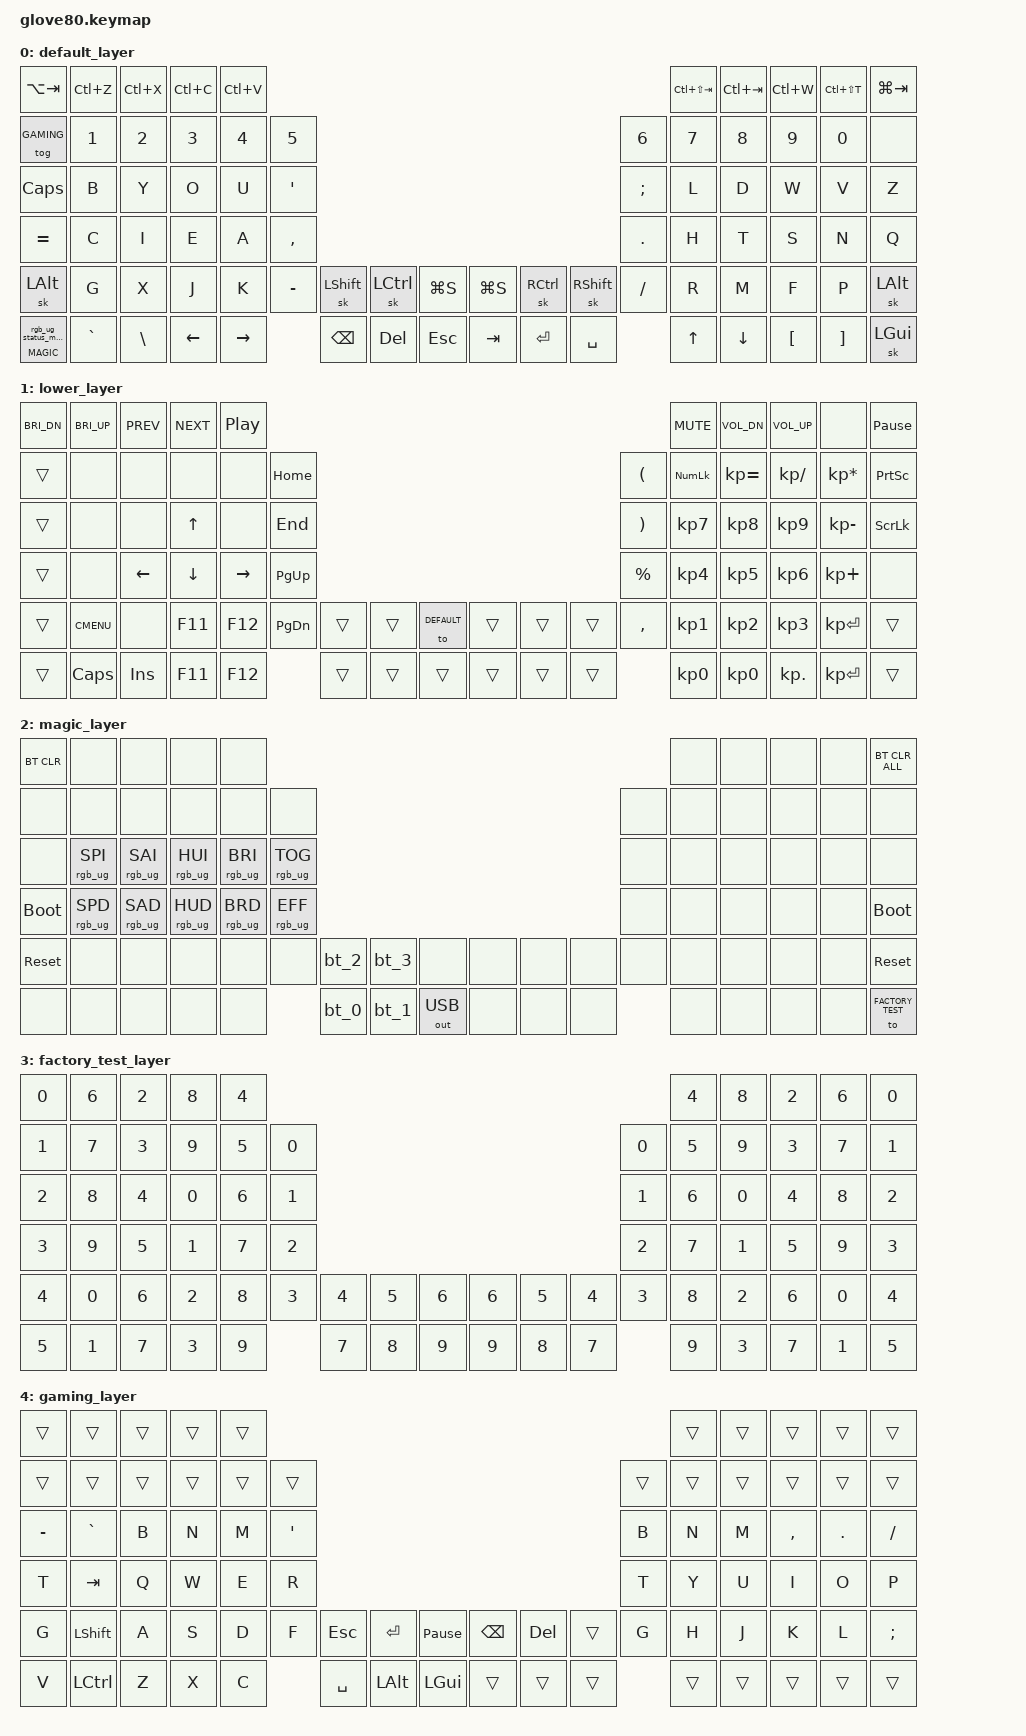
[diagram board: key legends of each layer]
/*
 * Copyright (c) 2020 The ZMK Contributors
 *
 * SPDX-License-Identifier: MIT
 */

#include <behaviors.dtsi>
#include <dt-bindings/zmk/keys.h>
#include <dt-bindings/zmk/bt.h>
#include <dt-bindings/zmk/ext_power.h>
#include <dt-bindings/zmk/outputs.h>
#include <dt-bindings/zmk/rgb.h>

#define HYPER LC(LS(LG(LALT)))

// layers
#define DEFAULT 0
#define LOWER 1
#define MAGIC 2
#define FACTORY_TEST 3
#define GAMING 4


/ {
    behaviors {
        // For the "layer" key, it'd nice to be able to use it as either a shift or a toggle.
        // Configure it as a tap dance, so the first tap (or hold) is a &mo and the second tap is a &to
        layer_td: tap_dance_0 {
            compatible = "zmk,behavior-tap-dance";
            label = "LAYER_TAP_DANCE";
            #binding-cells = <0>;
            tapping-term-ms = <200>;
            bindings = <&mo LOWER>, <&to LOWER>;
        };

        magic: magic_hold_tap {
            compatible = "zmk,behavior-hold-tap";
            label = "MAGIC_HOLD_TAP";
            #binding-cells = <2>;
            flavor = "tap-preferred";
            tapping-term-ms = <200>;
            bindings = <&mo>, <&rgb_ug_status_macro>;
        };

    };

    macros {
        rgb_ug_status_macro: rgb_ug_status_macro_0 {
            label = "RGB_UG_STATUS";
            compatible = "zmk,behavior-macro";
            #binding-cells = <0>;
            bindings
                = <&rgb_ug RGB_STATUS>;
        };

        bt_0: bt_profile_macro_0 {
            label = "BT_0";
            compatible = "zmk,behavior-macro";
            #binding-cells = <0>;
            bindings
                = <&out OUT_BLE>,
                  <&bt BT_SEL 0>;
        };

        bt_1: bt_profile_macro_1 {
            label = "BT_1";
            compatible = "zmk,behavior-macro";
            #binding-cells = <0>;
            bindings
                = <&out OUT_BLE>,
                  <&bt BT_SEL 1>;
        };

        bt_2: bt_profile_macro_2 {
            label = "BT_2";
            compatible = "zmk,behavior-macro";
            #binding-cells = <0>;
            bindings
                = <&out OUT_BLE>,
                  <&bt BT_SEL 2>;
        };

        bt_3: bt_profile_macro_3 {
            label = "BT_3";
            compatible = "zmk,behavior-macro";
            #binding-cells = <0>;
            bindings
                = <&out OUT_BLE>,
                  <&bt BT_SEL 3>;
        };
    };

    keymap {
        compatible = "zmk,keymap";

        default_layer {
            bindings = <
            &kp LA(TAB)    &kp LC(Z)     &kp LC(X)     &kp LC(C)     &kp LC(V)                                                                                                                               &kp LC(LS(TAB))    &kp LC(TAB)  &kp LC(W)    &kp LC(LS(T))  &kp LG(TAB)
            &tog GAMING    &kp N1        &kp N2        &kp N3        &kp N4       &kp N5                                                                                                           &kp N6    &kp N7             &kp N8       &kp N9       &kp N0         &none
            &kp CAPSLOCK   &kp B         &kp Y         &kp O         &kp U        &kp SQT                                                                                                          &kp SEMI  &kp L              &kp D        &kp W        &kp V          &kp Z
            &kp EQUAL      &kp C         &kp I         &kp E         &kp A        &kp COMMA                                                                                                        &kp DOT   &kp H              &kp T        &kp S        &kp N          &kp Q
            &sk LALT       &kp G         &kp X         &kp J         &kp K        &kp MINUS   &sk LSHFT           &sk LCTRL       &kp LG(S)     &kp LG(S)         &sk RCTRL      &sk RSHFT         &kp FSLH  &kp R              &kp M        &kp F        &kp P          &sk LALT
            &magic MAGIC 0 &kp GRAVE     &kp BSLH      &kp LEFT      &kp RIGHT                &kp BACKSPACE       &kp DEL         &kp ESC       &kp TAB           &kp ENTER      &kp SPACE                   &kp UP             &kp DOWN     &kp LBKT     &kp RBKT       &sk LGUI
            >;
        };

        lower_layer {
            bindings = <
            &kp C_BRI_DN      &kp C_BRI_UP        &kp C_PREV      &kp C_NEXT      &kp C_PP                                                                                                           &kp C_MUTE   &kp C_VOL_DN &kp C_VOL_UP  &none           &kp PAUSE_BREAK
            &trans            &none               &none           &none           &none           &kp HOME                                                                              &kp LPAR     &kp KP_NUM   &kp KP_EQUAL &kp KP_DIVIDE &kp KP_MULTIPLY &kp PSCRN
            &trans            &none               &none           &kp UP          &none           &kp END                                                                               &kp RPAR     &kp KP_N7    &kp KP_N8    &kp KP_N9     &kp KP_MINUS    &kp SLCK
            &trans            &none               &kp LEFT        &kp DOWN        &kp RIGHT       &kp PG_UP                                                                             &kp PRCNT    &kp KP_N4    &kp KP_N5    &kp KP_N6     &kp KP_PLUS     &none
            &trans            &kp K_CMENU         &none           &kp F11         &kp F12         &kp PG_DN       &trans      &trans      &to DEFAULT &trans      &trans      &trans    &kp COMMA    &kp KP_N1    &kp KP_N2    &kp KP_N3     &kp KP_ENTER    &trans
            &trans            &kp CAPS            &kp INS         &kp F11         &kp F12                         &trans      &trans      &trans      &trans      &trans      &trans                 &kp KP_N0    &kp KP_N0    &kp KP_DOT    &kp KP_ENTER    &trans
            >;
        };

        magic_layer {
            bindings = <
            &bt BT_CLR        &none               &none           &none           &none                                                                                                           &none      &none      &none      &none      &bt BT_CLR_ALL
            &none             &none               &none           &none           &none           &none                                                                                &none      &none      &none      &none      &none      &none
            &none             &rgb_ug RGB_SPI     &rgb_ug RGB_SAI &rgb_ug RGB_HUI &rgb_ug RGB_BRI &rgb_ug RGB_TOG                                                                      &none      &none      &none      &none      &none      &none
            &bootloader       &rgb_ug RGB_SPD     &rgb_ug RGB_SAD &rgb_ug RGB_HUD &rgb_ug RGB_BRD &rgb_ug RGB_EFF                                                                      &none      &none      &none      &none      &none      &bootloader
            &sys_reset        &none               &none           &none           &none           &none           &bt_2     &bt_3     &none            &none     &none     &none       &none      &none      &none      &none      &none      &sys_reset
            &none             &none               &none           &none           &none                           &bt_0     &bt_1     &out OUT_USB     &none     &none     &none                  &none      &none      &none      &none      &to FACTORY_TEST
            >;
        };

        factory_test_layer {
            bindings = <
            &kp N0   &kp N6   &kp N2   &kp N8   &kp N4                                                                              &kp N4   &kp N8   &kp N2   &kp N6   &kp N0
            &kp N1   &kp N7   &kp N3   &kp N9   &kp N5   &kp N0                                                            &kp N0   &kp N5   &kp N9   &kp N3   &kp N7   &kp N1
            &kp N2   &kp N8   &kp N4   &kp N0   &kp N6   &kp N1                                                            &kp N1   &kp N6   &kp N0   &kp N4   &kp N8   &kp N2
            &kp N3   &kp N9   &kp N5   &kp N1   &kp N7   &kp N2                                                            &kp N2   &kp N7   &kp N1   &kp N5   &kp N9   &kp N3
            &kp N4   &kp N0   &kp N6   &kp N2   &kp N8   &kp N3   &kp N4   &kp N5   &kp N6      &kp N6   &kp N5   &kp N4   &kp N3   &kp N8   &kp N2   &kp N6   &kp N0   &kp N4
            &kp N5   &kp N1   &kp N7   &kp N3   &kp N9            &kp N7   &kp N8   &kp N9      &kp N9   &kp N8   &kp N7            &kp N9   &kp N3   &kp N7   &kp N1   &kp N5
            >;
        };

        gaming_layer {
            bindings = <
            &trans     &trans      &trans  &trans  &trans                                                                                                       &trans  &trans     &trans     &trans    &trans
            &trans     &trans      &trans  &trans  &trans   &trans                                                                                      &trans  &trans  &trans     &trans     &trans    &trans
            &kp MINUS  &kp GRAVE   &kp B   &kp N   &kp M    &kp SQT                                                                                     &kp B   &kp N   &kp M      &kp COMMA  &kp DOT   &kp FSLH
            &kp T      &kp TAB     &kp Q   &kp W   &kp E    &kp R                                                                                       &kp T   &kp Y   &kp U      &kp I      &kp O     &kp P
            &kp G      &kp LSHFT   &kp A   &kp S   &kp D    &kp F    &kp ESC    &kp RET     &kp PAUSE_BREAK     &kp BSPC   &kp DEL  &trans              &kp G   &kp H   &kp J      &kp K      &kp L     &kp SEMI
            &kp V      &kp LCTRL   &kp Z   &kp X   &kp C             &kp SPACE  &kp LALT    &kp LGUI            &trans     &trans   &trans                      &trans  &trans     &trans     &trans    &trans
            >;
        };
    };
};
